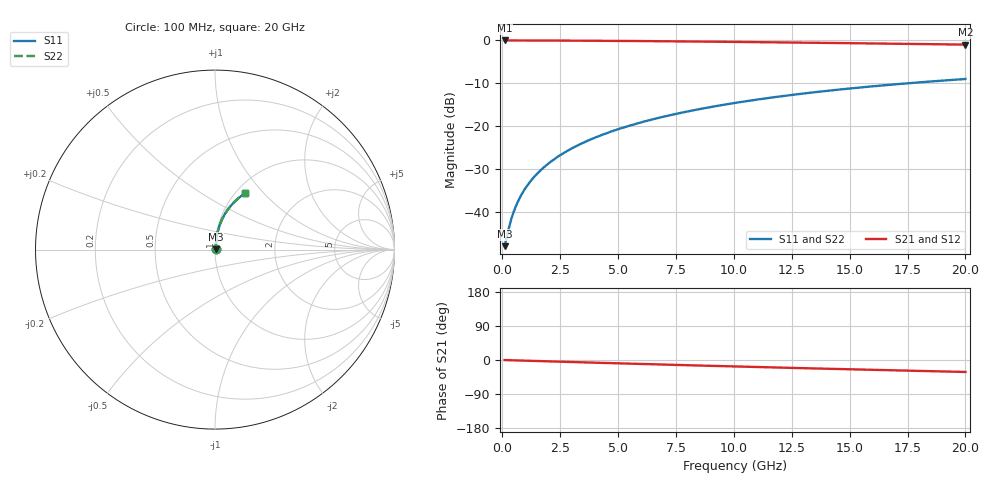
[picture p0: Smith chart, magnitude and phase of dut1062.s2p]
! Touchstone file exported from HFSS 2024.1.0
!  File:  C:/UserFiles/LocalFiles/RDL_TSV_Batchsim/temp_RDL_top_1062_1780044884.aedt
!  Generated:  04:57:08 PM May 29, 2026
!  Design:  RDL_top
!  Project:  temp_RDL_top_1062_1780044884
!  Setup:  Setup1
!  Solution:  Sweep
! Variables:
!  dtsv = 10.80580581um
!  hbump = 3um
!  htsv = 79.42um
!  ldown = 100um
!  lrdl = 392.68um
!  p = 40
!  p1 = 47.08um
!  rhole = 1um
!  t = 450um
!  tdown = 3.915915916um
!  trdl = 2.65um
!  wdown = 15.38538539um
!  wrdl = 15.66um
# GHz S MA R 50.000000
! Terminal data exported
! Port[1] = Box2_T1
! Port[2] = Box2_T2
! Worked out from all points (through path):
!   200 points, 100 MHz to 20 GHz, reference 50 ohm
!   highest |S21| = -0.03 dB at 100 MHz (marker M1); lowest = -1.0 dB at 20 GHz (marker M2)
!   group delay of S21, straight-line fit = 4.37 ps
!   lowest |S11| = -47.9 dB at 100 MHz (marker M3), VSWR 1.01, Z = 50.4 + j0.196 ohm
!   |S11| at or under -10 dB: start of sweep to 17.48 GHz
!   |S22| runs from -47.9 to -9.0 dB; largest |S21 - S12| = 2.6e-15
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0.1  0.00405 28.7  0.9964 -0.2  0.9964 -0.2  0.00405 28.7
! Gamma 0 0 0 0
! Port Impedance 50 0 50 0
0.3  0.006865 57.4  0.9963 -0.6  0.9963 -0.6  0.006865 57.4
0.4  0.008554 63.6  0.9962 -0.7  0.9962 -0.7  0.008554 63.6
0.5  0.01029 67.6  0.996 -0.9  0.996 -0.9  0.01029 67.6
0.6  0.01205 70.4  0.9959 -1.1  0.9959 -1.1  0.01205 70.4
0.7  0.01381 72.5  0.9958 -1.3  0.9958 -1.3  0.01381 72.5
0.9  0.01735 75.4  0.9955 -1.6  0.9955 -1.6  0.01735 75.4
1.2  0.0227 78.1  0.9951 -2.2  0.9951 -2.2  0.0227 78.1
1.4  0.02628 79.3  0.9948 -2.5  0.9948 -2.5  0.02628 79.2
1.7  0.03168 80.4  0.9943 -3.1  0.9943 -3.1  0.03168 80.4
2.2  0.04076 81.6  0.9934 -3.9  0.9934 -3.9  0.04076 81.6
2.8  0.05173 82.2  0.992 -5.0  0.992 -5.0  0.05173 82.2
3.5  0.06463 82.3  0.99 -6.2  0.99 -6.2  0.06463 82.3
4.2  0.07763 82.1  0.9877 -7.4  0.9877 -7.4  0.07762 82.1
5  0.09257 81.6  0.9847 -8.8  0.9847 -8.8  0.09257 81.6
5.9  0.1095 80.9  0.9808 -10.3  0.9808 -10.3  0.1095 80.9
6.8  0.1264 80.0  0.9765 -11.8  0.9765 -11.8  0.1264 79.9
8.4  0.1565 78.0  0.9681 -14.4  0.9681 -14.4  0.1565 78.0
10.1  0.1882 75.8  0.9584 -17.1  0.9584 -17.1  0.1882 75.8
13.4  0.2478 71.1  0.9376 -22.2  0.9376 -22.2  0.2477 71.1
16.7  0.3037 66.4  0.9152 -27.0  0.9152 -27.0  0.3036 66.4
20  0.3552 61.9  0.8918 -31.5  0.8918 -31.5  0.3551 61.8
